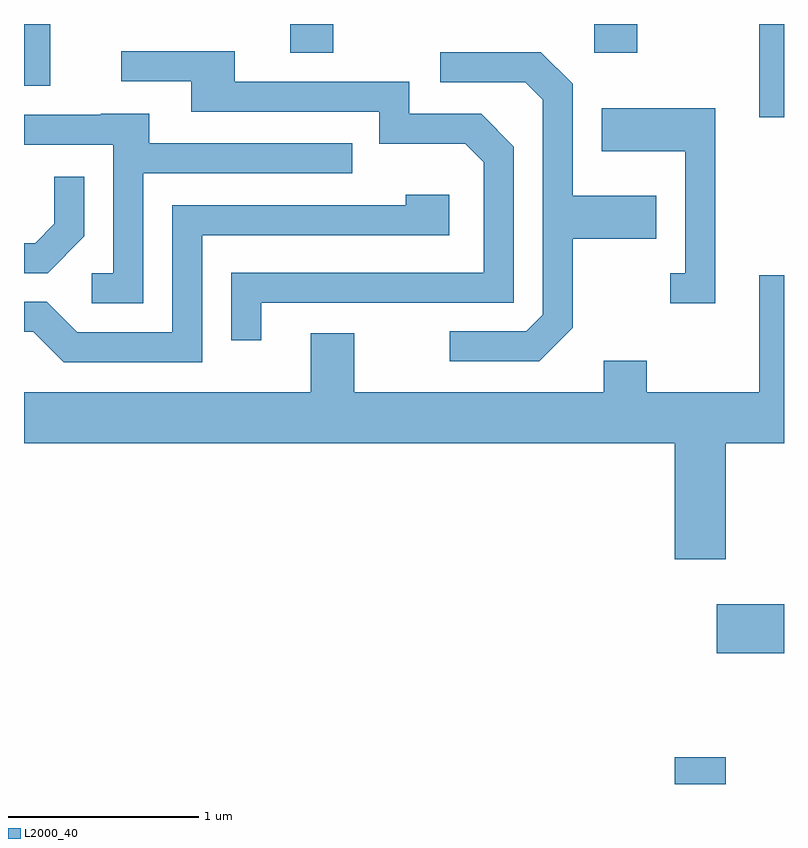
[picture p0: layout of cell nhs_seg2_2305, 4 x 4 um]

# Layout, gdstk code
import gdstk
lib = gdstk.Library(unit=1e-6, precision=1e-09)
def R(c, l, rs):  # rectangles x0, y0, x1, y1
    for r in rs: c.add(gdstk.rectangle(r[:2], r[2:], *l))
def P(c, l, *ps):  # polygons
    for p in ps: c.add(gdstk.Polygon(p, *l))
L2000_40 = (2000, 40)

nhs_seg2_2305 = lib.new_cell('nhs_seg2_2305')
R(nhs_seg2_2305, L2000_40, [(255.036,1099.802,255.304,1099.944), (255.256,1100.491,255.611,1100.749), (255.481,1103.311,255.611,1103.802), (251.611,1103.476,251.749,1103.802), (253.011,1103.651,253.239,1103.802), (254.611,1103.651,254.839,1103.802)])
P(nhs_seg2_2305, L2000_40, [(252.859,1102.336),(254.189,1102.336),(254.189,1103.157),(254.017,1103.329),(253.639,1103.329),(253.639,1103.499),(252.719,1103.499),(252.719,1103.659),(252.123,1103.659),(252.123,1103.501),(252.491,1103.501),(252.491,1103.341),(253.481,1103.341),(253.481,1103.171),(253.934,1103.171),(254.031,1103.074),(254.031,1102.494),(252.701,1102.494),(252.701,1102.138),(252.859,1102.138)],
  [(254.499,1102.204),(254.499,1102.671),(254.939,1102.671),(254.939,1102.899),(254.499,1102.899),(254.499,1103.487),(254.332,1103.654),(253.803,1103.654),(253.803,1103.496),(254.249,1103.496),(254.341,1103.404),(254.341,1102.272),(254.254,1102.184),(253.853,1102.184),(253.853,1102.026),(254.322,1102.026)],
  [(255.249,1103.359),(254.651,1103.359),(254.651,1103.131),(255.091,1103.131),(255.091,1102.489),(255.013,1102.489),(255.013,1102.331),(255.249,1102.331)],
  [(252.239,1103.016),(253.338,1103.016),(253.338,1103.174),(252.269,1103.174),(252.269,1103.329),(252.015,1103.329),(252.015,1103.324),(251.611,1103.324),(251.611,1103.166),(252.081,1103.166),(252.081,1102.489),(251.968,1102.489),(251.968,1102.331),(252.239,1102.331)],
  [(251.929,1102.684),(251.929,1102.998),(251.771,1102.998),(251.771,1102.752),(251.669,1102.649),(251.611,1102.649),(251.611,1102.491),(251.737,1102.491)],
  [(252.549,1102.691),(253.849,1102.691),(253.849,1102.904),(253.621,1102.904),(253.621,1102.849),(252.391,1102.849),(252.391,1102.179),(251.892,1102.179),(251.732,1102.339),(251.611,1102.339),(251.611,1102.181),(251.659,1102.181),(251.819,1102.021),(252.549,1102.021)],
  [(255.304,1101.596),(255.611,1101.596),(255.611,1102.479),(255.481,1102.479),(255.481,1101.864),(254.889,1101.864),(254.889,1102.029),(254.661,1102.029),(254.661,1101.864),(253.349,1101.864),(253.349,1102.174),(253.121,1102.174),(253.121,1101.864),(251.611,1101.864),(251.611,1101.596),(255.036,1101.596),(255.036,1100.986),(255.304,1100.986)])

lib.write_gds('nhs_seg2_2305.gds')
